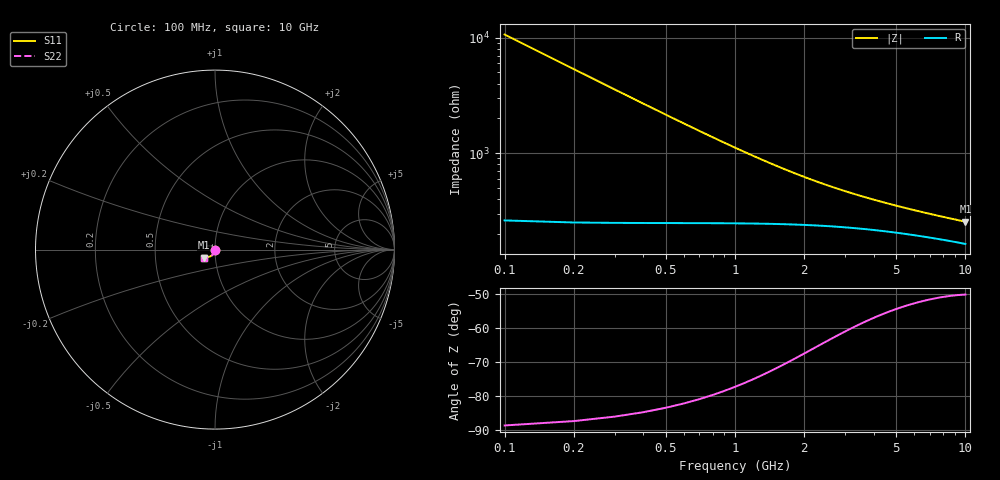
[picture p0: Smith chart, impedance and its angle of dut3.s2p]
! Touchstone file exported from HFSS 2024.1.0
!  File:  C:/UserFiles/LocalFiles/RDL_TSV_Batchsim/temp_TSV1_3_1778763810.aedt
!  Generated:  09:06:16 PM May 14, 2026
!  Design:  TSV1
!  Project:  temp_TSV1_3_1778763810
!  Setup:  Setup1
!  Solution:  Sweep
! Variables:
!  dtsv = 17.01um
!  hbump = 3um
!  htsv = 72.2um
!  lrdl = 252.1521522um
!  p = 40
!  p1 = 44.7um
!  t = 500um
!  trdl = 3um
!  wrdl = 24.89489489um
# GHz S MA R 50.000000
! Terminal data exported
! Port[1] = TSV22_T1
! Port[2] = TSV22_T2
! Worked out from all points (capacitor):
!   100 points, 100 MHz to 10 GHz, reference 50 ohm
!   read as one part in shunt: C = 149 fF near 100 MHz
!   lowest |Z| = 255 ohm at 10 GHz (marker M1)
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0.1  0.002082 -89.5  0.9999 -0.1  0.9999 -0.1  0.002082 -89.5
! Gamma 0 0 0 0
! Port Impedance 50 0 50 0
0.2  0.004155 -92.1  0.9997 -0.3  0.9997 -0.3  0.004155 -92.1
0.3  0.006216 -94.1  0.9994 -0.4  0.9994 -0.4  0.006216 -94.1
0.4  0.008259 -95.8  0.999 -0.6  0.999 -0.6  0.008259 -95.8
0.5  0.01028 -97.4  0.9985 -0.7  0.9985 -0.7  0.01028 -97.4
0.6  0.01227 -99.0  0.9979 -0.9  0.9979 -0.9  0.01227 -99.0
0.7  0.01422 -100.6  0.9972 -1.0  0.9972 -1.0  0.01422 -100.6
0.8  0.01614 -102.1  0.9964 -1.1  0.9964 -1.1  0.01614 -102.1
0.9  0.01801 -103.6  0.9956 -1.3  0.9956 -1.3  0.01801 -103.6
1.1  0.02162 -106.4  0.9937 -1.5  0.9937 -1.5  0.02162 -106.4
1.4  0.02666 -110.3  0.9905 -1.8  0.9905 -1.8  0.02666 -110.3
1.6  0.02976 -112.8  0.9883 -2.0  0.9883 -2.0  0.02976 -112.8
1.8  0.03265 -115.0  0.9861 -2.2  0.9861 -2.2  0.03265 -115.0
2.1  0.0366 -118.1  0.9828 -2.4  0.9828 -2.4  0.0366 -118.1
2.5  0.04124 -121.7  0.9785 -2.7  0.9785 -2.7  0.04124 -121.7
2.9  0.04525 -124.7  0.9746 -2.9  0.9746 -2.9  0.04525 -124.7
3.4  0.04954 -127.9  0.9701 -3.2  0.9701 -3.2  0.04954 -127.9
4.2  0.05518 -131.8  0.9638 -3.5  0.9638 -3.5  0.05518 -131.8
5.1  0.0603 -135.1  0.958 -3.9  0.958 -3.9  0.0603 -135.1
6.7  0.06739 -139.2  0.9498 -4.4  0.9498 -4.4  0.06739 -139.2
8.4  0.07313 -142.2  0.9433 -4.9  0.9433 -4.9  0.07313 -142.2
10  0.07734 -144.3  0.9386 -5.3  0.9386 -5.3  0.07734 -144.3
